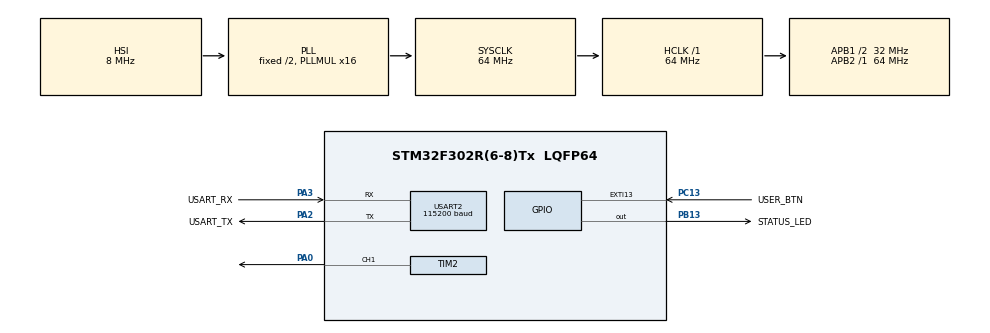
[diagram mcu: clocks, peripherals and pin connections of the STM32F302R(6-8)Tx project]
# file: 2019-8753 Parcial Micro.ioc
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Mcu.Family=STM32F3
Mcu.Name=STM32F302R(6-8)Tx
Mcu.Package=LQFP64
NVIC.EXTI15_10_IRQn=true\:0\:0\:false\:false\:true\:true\:true
NVIC.PriorityGroup=NVIC_PRIORITYGROUP_0
NVIC.TIM6_DAC_IRQn=true\:0\:0\:false\:false\:true\:true\:true
NVIC.USART2_IRQn=true\:0\:0\:false\:false\:true\:true\:true
PA0.Signal=S_TIM2_CH1_ETR
PA13.GPIO_Label=TMS
PA13.Mode=Serial_Wire
PA13.Signal=SYS_JTMS-SWDIO
PA14.GPIO_Label=TCK
PA14.Mode=Serial_Wire
PA14.Signal=SYS_JTCK-SWCLK
PA2.GPIO_Label=USART_TX
PA2.GPIO_Mode=GPIO_MODE_AF_PP
PA2.GPIO_PuPd=GPIO_NOPULL
PA2.GPIO_Speed=GPIO_SPEED_FREQ_LOW
PA2.Mode=Asynchronous
PA2.Signal=USART2_TX
PA3.GPIO_Label=USART_RX
PA3.GPIO_Mode=GPIO_MODE_AF_PP
PA3.GPIO_PuPd=GPIO_NOPULL
PA3.GPIO_Speed=GPIO_SPEED_FREQ_LOW
PA3.Mode=Asynchronous
PA3.Signal=USART2_RX
PB13.GPIO_Label=STATUS_LED
PB13.Signal=GPIO_Output
PB3.GPIO_Label=SWO
PB3.Mode=Trace_Asynchronous_SW
PB3.Signal=SYS_JTDO-TRACESWO
PC13.GPIO_Label=USER_BTN
PC13.GPIO_ModeDefaultEXTI=GPIO_MODE_IT_RISING_FALLING
PC13.Signal=GPXTI13
PC14\ -\ OSC32_IN.Mode=LSE-External-Oscillator
PC14\ -\ OSC32_IN.Signal=RCC_OSC32_IN
PC15\ -\ OSC32_OUT.Mode=LSE-External-Oscillator
PC15\ -\ OSC32_OUT.Signal=RCC_OSC32_OUT
PF0-OSC_IN.Mode=HSE-External-Clock-Source
PF0-OSC_IN.Signal=RCC_OSC_IN
PF1-OSC_OUT.Signal=RCC_OSC_OUT
ProjectManager.HeapSize=0x200
ProjectManager.StackSize=0x400
ProjectManager.TargetToolchain=STM32CubeIDE
RCC.AHBFreq_Value=64000000
RCC.APB1CLKDivider=RCC_HCLK_DIV2
RCC.APB1Freq_Value=32000000
RCC.APB1TimFreq_Value=64000000
RCC.APB2Freq_Value=64000000
RCC.APB2TimFreq_Value=64000000
RCC.CortexFreq_Value=64000000
RCC.HCLKFreq_Value=64000000
RCC.HSE_VALUE=8000000
RCC.HSI_VALUE=8000000
RCC.PLLM=8
RCC.PLLMUL=RCC_PLL_MUL16
RCC.PLLN=336
RCC.PLLP=RCC_PLLP_DIV4
RCC.PLLQ=7
RCC.RCC_PLLsource_Clock_Source_FROM_HSE=RCC_HSE_PREDIV_DIV2
RCC.SYSCLKFreq_VALUE=64000000
RCC.SYSCLKSourceVirtual=RCC_SYSCLKSOURCE_PLLCLK
RCC.USBFreq_Value=64000000
SH.S_TIM2_CH1_ETR.0=TIM2_CH1,PWM Generation1 CH1
TIM2.AutoReloadPreload=TIM_AUTORELOAD_PRELOAD_ENABLE
TIM2.Channel-PWM\ Generation1\ CH1=TIM_CHANNEL_1
TIM2.ClockDivision=TIM_CLOCKDIVISION_DIV2
TIM2.Period=999
TIM2.Prescaler=63
TIM2.Pulse-PWM\ Generation1\ CH1=250
TIM6.Period=999
TIM6.Prescaler=63
USART2.BaudRate=115200
USART2.VirtualMode-Asynchronous=VM_ASYNC
VP_TIM6_VS_ClockSourceINT.Mode=Enable_Timer
board=NUCLEO-F302R8

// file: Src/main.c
/* USER CODE BEGIN Header */
/**
  ******************************************************************************
  * @file           : main.c
  * @brief          : Main program body
  ******************************************************************************
  * @attention
  *
  * <h2><center>&copy; Copyright (c) 2026 STMicroelectronics.
  * All rights reserved.</center></h2>
  *
  * This software component is licensed by ST under BSD 3-Clause license,
  * the "License"; You may not use this file except in compliance with the
  * License. You may obtain a copy of the License at:
  *                        opensource.org/licenses/BSD-3-Clause
  *
  ******************************************************************************
  */
/* USER CODE END Header */

#include "main.h"

/* USER CODE BEGIN Includes */
#include <string.h>
#include <stdio.h>
/* USER CODE END Includes */

TIM_HandleTypeDef htim2;
TIM_HandleTypeDef htim6;

UART_HandleTypeDef huart2;

/* USER CODE BEGIN PV */

volatile uint32_t g_ms = 0;
volatile uint8_t buttonEdgePending = 0;

uint8_t buttonRawState = 0;
uint8_t buttonStableState = 0;

uint8_t debounceActive = 0;
uint32_t debounceStart = 0;

uint32_t pressStart = 0;
uint8_t buttonPressed = 0;
uint8_t longPressReported = 0;

uint32_t shortPressCount = 0;
uint32_t longPressCount = 0;

/* Recepcion UART por interrupciones */
#define UART_RX_BUFFER_SIZE 128U

static uint8_t uartRxByte;

static volatile uint8_t uartRxBuffer[UART_RX_BUFFER_SIZE];

static volatile uint16_t uartRxHead = 0U;
static volatile uint16_t uartRxTail = 0U;

static volatile uint32_t uartRxOverflowCount = 0U;

/* Procesamiento de comandos UART */
#define UART_LINE_MAX_LENGTH 63U

static char uartLine[UART_LINE_MAX_LENGTH + 1U];

static uint8_t uartLineLength = 0U;

static uint8_t uartLineDiscard = 0U;

static uint8_t uartLastWasCR = 0U;

static volatile uint32_t uartLineOverflowCount = 0U;

/* Transmision UART no bloqueante */
#define UART_TX_BUFFER_SIZE 256U

static uint8_t uartTxBuffer[UART_TX_BUFFER_SIZE];

static volatile uint16_t uartTxHead = 0U;
static volatile uint16_t uartTxTail = 0U;

static volatile uint8_t uartTxBusy = 0U;

static volatile uint32_t uartTxOverflowCount = 0U;

static uint8_t uartTxActiveByte;

static uint8_t pwmDuty = 25U;

typedef enum
{
    MODE_MANUAL = 0,
    MODE_AUTO,
    MODE_PAUSE
} SystemMode;

static SystemMode currentMode = MODE_MANUAL;
static SystemMode previousMode = MODE_MANUAL;

static uint8_t savedDuty = 25U;

/* Control de rampa automatica */
static uint8_t autoDuty = 10U;
static int8_t autoDirection = 1;
static uint32_t autoLastUpdate = 0U;

static uint8_t manualDuty = 25U;

/* Control de transmision periodica UART */
static uint8_t streamEnabled = 0U;
static uint32_t streamLastUpdate = 0U;

/* Control del LED indicador de estados */
static uint32_t statusLedLastUpdate = 0U;
static SystemMode statusLedLastMode = MODE_MANUAL;

/* USER CODE END PV */

void SystemClock_Config(void);
static void MX_GPIO_Init(void);
static void MX_USART2_UART_Init(void);
static void MX_TIM2_Init(void);
static void MX_TIM6_Init(void);
/* USER CODE BEGIN PFP */

uint8_t UART_SendText(const char *text);
void UART_ServiceTx(void);

/* USER CODE END PFP */

/* USER CODE BEGIN 0 */

uint8_t UART_ParseDuty(const char *text, uint8_t *duty)
{
    uint32_t value = 0U;

    if ((text == NULL) || (duty == NULL) || (*text == '\0'))
    {
        return 0U;
    }

    while (*text != '\0')
    {
        if ((*text < '0') || (*text > '9'))
        {
            return 0U;
        }

        value = (value * 10U) + (uint32_t)(*text - '0');

        if (value > 100U)
        {
            return 0U;
        }

        text++;
    }

    *duty = (uint8_t)value;

    return 1U;
}

void PWM_SetDuty(uint8_t duty)
{
    if (duty > 100U)
    {
        duty = 100U;
    }

    /* Guardar el ultimo duty configurado */
    pwmDuty = duty;

    /* Obtener el periodo actual de TIM2 */
    uint32_t period = __HAL_TIM_GET_AUTORELOAD(&htim2);

    /* Calcular el valor del registro CCR1 */
    uint32_t pulse = ((period + 1U) * duty) / 100U;

    /* Actualizar el PWM */
    __HAL_TIM_SET_COMPARE(&htim2, TIM_CHANNEL_1, pulse);
}

uint8_t PWM_SetFrequency(uint32_t frequency)
{
    uint32_t timerClock = 64000000U;

    /* Validar las frecuencias permitidas */
    if ((frequency != 500U) &&
        (frequency != 1000U) &&
        (frequency != 2000U))
    {
        return 0U;
    }

    /* Leer el prescaler actual */
    uint32_t prescaler = htim2.Instance->PSC;

    /* Calcular el nuevo periodo */
    uint32_t newPeriod =
        (timerClock / ((prescaler + 1U) * frequency)) - 1U;

    /* Actualizar el periodo del PWM */
    __HAL_TIM_SET_AUTORELOAD(&htim2, newPeriod);

    /* Conservar el duty cycle configurado */
    PWM_SetDuty(pwmDuty);

    return 1U;
}

uint8_t UART_ReadByte(uint8_t *data)
{
    if (data == NULL)
    {
        return 0U;
    }

    /* Comprobar si hay caracteres disponibles */
    if (uartRxHead == uartRxTail)
    {
        return 0U;
    }

    /* Recuperar el siguiente caracter */
    *data = uartRxBuffer[uartRxTail];

    /* Avanzar la posicion de lectura */
    uartRxTail =
        (uartRxTail + 1U) % UART_RX_BUFFER_SIZE;

    return 1U;
}

uint8_t UART_ParseFrequency(const char *text, uint32_t *frequency)
{
    uint32_t value = 0U;

    if ((text == NULL) || (frequency == NULL) || (*text == '\0'))
    {
        return 0U;
    }

    while (*text != '\0')
    {
        if ((*text < '0') || (*text > '9'))
        {
            return 0U;
        }

        value = (value * 10U) + (uint32_t)(*text - '0');

        /* Evitar valores excesivos */
        if (value > 2000U)
        {
            return 0U;
        }

        text++;
    }

    if ((value != 500U) &&
        (value != 1000U) &&
        (value != 2000U))
    {
        return 0U;
    }

    *frequency = value;

    return 1U;
}

void UART_ProcessCommand(const char *command)
{
    if (strcmp(command, "HELP") == 0)
    {
        UART_SendText(
            "OK\r\n"
            "HELP\r\n"
            "STATUS\r\n"
            "MODE MANUAL\r\n"
            "MODE AUTO\r\n"
            "DUTY n\r\n"
            "FREQ n\r\n"
            "PAUSE\r\n"
            "RESUME\r\n"
            "STREAM ON\r\n"
            "STREAM OFF\r\n"
        );
    }
    else if (strcmp(command, "STATUS") == 0)
    {
        char response[96];

        uint32_t timerClock = 64000000U;

        uint32_t prescaler =
            htim2.Instance->PSC;

        uint32_t period =
            __HAL_TIM_GET_AUTORELOAD(&htim2);

        uint32_t frequency =
            timerClock / ((prescaler + 1U) * (period + 1U));

        const char *modeText = "MANUAL";

        if (currentMode == MODE_AUTO)
        {
            modeText = "AUTO";
        }
        else if (currentMode == MODE_PAUSE)
        {
            modeText = "PAUSA";
        }

        snprintf(response, sizeof(response),
                 "OK\r\n"
                 "MODE: %s\r\n"
                 "PWM FREQ: %lu Hz\r\n"
                 "PWM DUTY: %u%%\r\n",
                 modeText,
                 (unsigned long)frequency,
                 (unsigned int)pwmDuty);

        UART_SendText(response);
    }

    else if (strncmp(command, "DUTY ", 5) == 0)
    {
        uint8_t newDuty;

        if (currentMode == MODE_PAUSE)
        {
            UART_SendText("ERR PAUSED\r\n");
        }
        else if (currentMode == MODE_AUTO)
        {
            UART_SendText("ERR AUTO MODE\r\n");
        }
        else if (UART_ParseDuty(command + 5, &newDuty))
        {
            PWM_SetDuty(newDuty);
            manualDuty = newDuty;

            UART_SendText("OK DUTY\r\n");
        }
        else
        {
            UART_SendText("ERR DUTY\r\n");
        }
    }
    else if (strncmp(command, "FREQ ", 5) == 0)
    {
        uint32_t newFrequency;

        if (UART_ParseFrequency(command + 5, &newFrequency))
        {
            if (PWM_SetFrequency(newFrequency))
            {
                UART_SendText("OK FREQ\r\n");
            }
            else
            {
                UART_SendText("ERR FREQ\r\n");
            }
        }
        else
        {
            UART_SendText("ERR FREQ\r\n");
        }
    }

    else if (strcmp(command, "MODE MANUAL") == 0)
    {
        if (currentMode == MODE_PAUSE)
        {
            UART_SendText("ERR PAUSED\r\n");
        }
        else
        {
            if (currentMode == MODE_AUTO)
            {
                currentMode = MODE_MANUAL;
                PWM_SetDuty(manualDuty);
            }

            UART_SendText("OK MODE MANUAL\r\n");
        }
    }
    else if (strcmp(command, "MODE AUTO") == 0)
    {
        if (currentMode == MODE_PAUSE)
        {
            UART_SendText("ERR PAUSED\r\n");
        }
        else
        {
            if (currentMode == MODE_MANUAL)
            {
                manualDuty = pwmDuty;

                autoDuty = 10U;
                autoDirection = 1;
                autoLastUpdate = g_ms;

                currentMode = MODE_AUTO;
                PWM_SetDuty(autoDuty);
            }

            UART_SendText("OK MODE AUTO\r\n");
        }
    }

    else if (strcmp(command, "PAUSE") == 0)
    {
        if (currentMode == MODE_PAUSE)
        {
            UART_SendText("ERR ALREADY PAUSED\r\n");
        }
        else
        {
            /* Guardar el estado y duty actuales */
            previousMode = currentMode;
            savedDuty = pwmDuty;

            /* Entrar en PAUSA */
            currentMode = MODE_PAUSE;
            PWM_SetDuty(0U);

            UART_SendText("OK PAUSE\r\n");
        }
    }
    else if (strcmp(command, "RESUME") == 0)
    {
        if (currentMode != MODE_PAUSE)
        {
            UART_SendText("ERR NOT PAUSED\r\n");
        }
        else
        {
            /* Recuperar estado y duty anteriores */
            currentMode = previousMode;
            PWM_SetDuty(savedDuty);

            /* Evitar acumular tiempo durante PAUSA */
            autoLastUpdate = g_ms;

            UART_SendText("OK RESUME\r\n");
        }
    }
    else if (strcmp(command, "STREAM ON") == 0)
    {
        streamEnabled = 1U;
        streamLastUpdate = g_ms;

        UART_SendText("OK STREAM ON\r\n");
    }
    else if (strcmp(command, "STREAM OFF") == 0)
    {
        streamEnabled = 0U;

        UART_SendText("OK STREAM OFF\r\n");
    }
    else
    {
        UART_SendText("ERR COMMAND\r\n");
    }
}

void UART_ProcessRx(void)
{
    uint8_t receivedByte;
    uint16_t processed = 0U;

    /* Limitar trabajo por iteracion del programa principal */
    while ((processed < 32U) && UART_ReadByte(&receivedByte))
    {
        processed++;

        /* Evitar procesar CRLF dos veces */
        if ((receivedByte == '\n') && uartLastWasCR)
        {
            uartLastWasCR = 0U;
            continue;
        }

        uartLastWasCR = (receivedByte == '\r') ? 1U : 0U;

        /* Detectar final de linea */
        if ((receivedByte == '\r') || (receivedByte == '\n'))
        {
            if (uartLineDiscard)
            {
                uartLineOverflowCount++;
            }
            else if (uartLineLength > 0U)
            {
                uartLine[uartLineLength] = '\0';

                UART_ProcessCommand(uartLine);
            }

            /* Preparar la siguiente linea */
            uartLineLength = 0U;
            uartLineDiscard = 0U;
        }
        else if (!uartLineDiscard)
        {
            if (uartLineLength < UART_LINE_MAX_LENGTH)
            {
                uartLine[uartLineLength++] = (char)receivedByte;
            }
            else
            {
                /* Descartar hasta el siguiente fin de linea */
                uartLineDiscard = 1U;
            }
        }
    }
}

uint8_t UART_SendText(const char *text)

               {
                   uint16_t length = 0U;
                   uint16_t freeSpace;

                   if (text == NULL)
                   {
                       return 0U;
                   }

                   /* Calcular longitud del mensaje */
                   while (text[length] != '\0')
                   {
                       length++;

                       if (length >= UART_TX_BUFFER_SIZE)
                       {
                           uartTxOverflowCount++;
                           return 0U;
                       }
                   }

                   /* Calcular espacio disponible */
                   uint32_t primask = __get_PRIMASK();

                   __disable_irq();

                   uint16_t used =
                       (uartTxHead + UART_TX_BUFFER_SIZE - uartTxTail)
                       % UART_TX_BUFFER_SIZE;

                   freeSpace = (UART_TX_BUFFER_SIZE - 1U) - used;

                   __set_PRIMASK(primask);

                   if (length > freeSpace)
                   {
                       uartTxOverflowCount++;
                       return 0U;
                   }

                   /* Agregar mensaje al buffer */
                   for (uint16_t i = 0U; i < length; i++)
                   {
                       uartTxBuffer[uartTxHead] = (uint8_t)text[i];

                       uartTxHead =
                           (uartTxHead + 1U) % UART_TX_BUFFER_SIZE;
                   }

                   return 1U;
               }

              void UART_ServiceTx(void)
               {
                   if (uartTxBusy != 0U)
                   {
                       return;
                   }

                   if (uartTxHead == uartTxTail)
                   {
                       return;
                   }

                   uartTxActiveByte = uartTxBuffer[uartTxTail];
                   uartTxBusy = 1U;

                   if (HAL_UART_Transmit_IT(&huart2,
                                            &uartTxActiveByte,
                                            1U) != HAL_OK)
                   {
                       uartTxBusy = 0U;
                   }
               }
/* USER CODE END 0 */

int main(void)
{

  /* MCU Configuration--------------------------------------------------------*/

  /* Reset of all peripherals, Initializes the Flash interface and the Systick. */
  HAL_Init();

  /* Configure the system clock */
  SystemClock_Config();

  /* Initialize all configured peripherals */
  MX_GPIO_Init();
  MX_USART2_UART_Init();
  MX_TIM2_Init();
  MX_TIM6_Init();
  /* USER CODE BEGIN 2 */

  HAL_TIM_Base_Start_IT(&htim6);
  HAL_TIM_PWM_Start(&htim2, TIM_CHANNEL_1);
  PWM_SetDuty(25);

  if (HAL_UART_Receive_IT(&huart2, &uartRxByte, 1U) != HAL_OK)
  {
      Error_Handler();
  }

  buttonRawState =
      HAL_GPIO_ReadPin(USER_BTN_GPIO_Port, USER_BTN_Pin);

  buttonStableState = buttonRawState;

  /* USER CODE END 2 */

  /* Infinite loop */
  while (1)
  {

    /* USER CODE BEGIN 3 */

	  UART_ProcessRx();
	  UART_ServiceTx();

	  uint32_t now = g_ms;

	  /* Se detectó un flanco mediante EXTI */
	  if (buttonEdgePending)
	  {
	      buttonEdgePending = 0;

	      buttonRawState =
	          HAL_GPIO_ReadPin(USER_BTN_GPIO_Port, USER_BTN_Pin);

	      debounceStart = now;
	      debounceActive = 1;
	  }

	  /* Validación no bloqueante de 30 ms */
	  if (debounceActive)
	  {
	      uint8_t currentState =
	          HAL_GPIO_ReadPin(USER_BTN_GPIO_Port, USER_BTN_Pin);

	      /* Si vuelve a cambiar, reiniciamos los 30 ms */
	      if (currentState != buttonRawState)
	      {
	          buttonRawState = currentState;
	          debounceStart = now;
	      }

	      /* Debe permanecer estable durante 30 ms */
	      if ((uint32_t)(now - debounceStart) >= 30U)
	      {
	          debounceActive = 0;

	          if (buttonStableState != buttonRawState)
	          {
	              buttonStableState = buttonRawState;

	              /* B1 es activo en bajo */
	              if (buttonStableState == GPIO_PIN_RESET)
	              {
	                  /* Pulsación validada */
	                  buttonPressed = 1;
	                  pressStart = now;
	                  longPressReported = 0;
	              }
	              else
	              {
	                  /* Liberación validada */
	                  if (buttonPressed)
	                  {
	                      if (!longPressReported)
	                      {
	                          uint32_t pressDuration =
	                              (uint32_t)(now - pressStart);

	                          if (pressDuration >= 30U &&
	                              pressDuration < 1500U)
	                          {
	                              shortPressCount++;

	                              /* Alternar entre MANUAL y AUTO */
	                              if (currentMode == MODE_MANUAL)
	                              {
	                                  /* Guardar la configuracion manual */
	                                  manualDuty = pwmDuty;

	                                  /* Iniciar la rampa desde 10% */
	                                  autoDuty = 10U;
	                                  autoDirection = 1;
	                                  autoLastUpdate = now;

	                                  currentMode = MODE_AUTO;
	                                  PWM_SetDuty(autoDuty);
	                              }
	                              else if (currentMode == MODE_AUTO)
	                              {
	                                  /* Recuperar el duty manual */
	                                  currentMode = MODE_MANUAL;
	                                  PWM_SetDuty(manualDuty);
	                              }
	                          }
	                      }

	                      buttonPressed = 0;
	                  }
	              }
	          }
	      }
	  }
	  /* Detección de pulsación larga */
	  if (buttonPressed && !longPressReported)
	  {
	      if ((uint32_t)(now - pressStart) >= 1500U)
	      {
	          longPressReported = 1;
	          longPressCount++;

	          /* Entrar o salir del modo PAUSA */
	          if (currentMode != MODE_PAUSE)
	          {
	              /* Guardar el modo y duty anteriores */
	              previousMode = currentMode;
	              savedDuty = pwmDuty;

	              /* Activar PAUSA y apagar PWM */
	              currentMode = MODE_PAUSE;
	              PWM_SetDuty(0U);
	          }
	          else
	          {
	              /* Recuperar el modo y duty anteriores */
	              currentMode = previousMode;
	              PWM_SetDuty(savedDuty);
	          }
	      }
	  }

	  /* Rampa automatica PWM */
	  if (currentMode == MODE_AUTO)
	  {
	      if ((uint32_t)(now - autoLastUpdate) >= 20U)
	      {
	          autoLastUpdate = now;

	          if (autoDirection > 0)
	          {
	              if (autoDuty < 90U)
	              {
	                  autoDuty++;
	              }
	              else
	              {
	                  autoDirection = -1;
	                  autoDuty--;
	              }
	          }
	          else
	          {
	              if (autoDuty > 10U)
	              {
	                  autoDuty--;
	              }
	              else
	              {
	                  autoDirection = 1;
	                  autoDuty++;
	              }
	          }

	          PWM_SetDuty(autoDuty);
	      }
	  }
	  else
	  {
	      /* Evita acumular tiempo fuera de AUTO */
	      autoLastUpdate = now;
	  }

	  /* Transmision periodica de estado por UART */
	  if (streamEnabled)
	  {
	      if ((uint32_t)(now - streamLastUpdate) >= 1000U)
	      {
	          streamLastUpdate = now;

	          const char *modeText = "MANUAL";

	          if (currentMode == MODE_AUTO)
	          {
	              modeText = "AUTO";
	          }
	          else if (currentMode == MODE_PAUSE)
	          {
	              modeText = "PAUSA";
	          }

	          uint32_t timerClock = 64000000U;
	          uint32_t prescaler = htim2.Instance->PSC;
	          uint32_t period = __HAL_TIM_GET_AUTORELOAD(&htim2);

	          uint32_t frequency =
	              timerClock / ((prescaler + 1U) * (period + 1U));

	          char streamMessage[96];

	          snprintf(streamMessage, sizeof(streamMessage),
	                   "STREAM MODE:%s FREQ:%lu DUTY:%u%%\r\n",
	                   modeText,
	                   (unsigned long)frequency,
	                   (unsigned int)pwmDuty);

	          UART_SendText(streamMessage);
	      }
	  }
	  /* Indicador LED de estados */
	  if (currentMode != statusLedLastMode)
	  {
	      /* Reiniciar temporizacion al cambiar de modo */
	      statusLedLastMode = currentMode;
	      statusLedLastUpdate = now;

	      /* Establecer estado inicial del LED */
	      HAL_GPIO_WritePin(STATUS_LED_GPIO_Port,
	                        STATUS_LED_Pin,
	                        GPIO_PIN_SET);
	  }

	  if (currentMode == MODE_MANUAL)
	  {
	      /* MANUAL: LED encendido permanentemente */
	      HAL_GPIO_WritePin(STATUS_LED_GPIO_Port,
	                        STATUS_LED_Pin,
	                        GPIO_PIN_SET);
	  }
	  else if (currentMode == MODE_AUTO)
	  {
	      /* AUTO: cambiar estado cada 500 ms */
	      if ((uint32_t)(now - statusLedLastUpdate) >= 500U)
	      {
	          statusLedLastUpdate = now;

	          HAL_GPIO_TogglePin(STATUS_LED_GPIO_Port,
	                             STATUS_LED_Pin);
	      }
	  }
	  else if (currentMode == MODE_PAUSE)
	  {
	      /* PAUSA: cambiar estado cada 125 ms */
	      if ((uint32_t)(now - statusLedLastUpdate) >= 125U)
	      {
	          statusLedLastUpdate = now;

	          HAL_GPIO_TogglePin(STATUS_LED_GPIO_Port,
	                             STATUS_LED_Pin);
	      }
	  }
  }

  /* USER CODE END 3 */
}

void SystemClock_Config(void)
{
  RCC_OscInitTypeDef RCC_OscInitStruct = {0};
  RCC_ClkInitTypeDef RCC_ClkInitStruct = {0};

  /** Initializes the CPU, AHB and APB busses clocks
  */
  RCC_OscInitStruct.OscillatorType = RCC_OSCILLATORTYPE_HSI;
  RCC_OscInitStruct.HSIState = RCC_HSI_ON;
  RCC_OscInitStruct.HSICalibrationValue = RCC_HSICALIBRATION_DEFAULT;
  RCC_OscInitStruct.PLL.PLLState = RCC_PLL_ON;
  RCC_OscInitStruct.PLL.PLLSource = RCC_PLLSOURCE_HSI;
  RCC_OscInitStruct.PLL.PLLMUL = RCC_PLL_MUL16;
  if (HAL_RCC_OscConfig(&RCC_OscInitStruct) != HAL_OK)
  {
    Error_Handler();
  }
  /** Initializes the CPU, AHB and APB busses clocks
  */
  RCC_ClkInitStruct.ClockType = RCC_CLOCKTYPE_HCLK|RCC_CLOCKTYPE_SYSCLK
                              |RCC_CLOCKTYPE_PCLK1|RCC_CLOCKTYPE_PCLK2;
  RCC_ClkInitStruct.SYSCLKSource = RCC_SYSCLKSOURCE_PLLCLK;
  RCC_ClkInitStruct.AHBCLKDivider = RCC_SYSCLK_DIV1;
  RCC_ClkInitStruct.APB1CLKDivider = RCC_HCLK_DIV2;
  RCC_ClkInitStruct.APB2CLKDivider = RCC_HCLK_DIV1;

  if (HAL_RCC_ClockConfig(&RCC_ClkInitStruct, FLASH_LATENCY_2) != HAL_OK)
  {
    Error_Handler();
  }
}

static void MX_TIM2_Init(void)
{

  TIM_MasterConfigTypeDef sMasterConfig = {0};
  TIM_OC_InitTypeDef sConfigOC = {0};

  htim2.Instance = TIM2;
  htim2.Init.Prescaler = 63;
  htim2.Init.CounterMode = TIM_COUNTERMODE_UP;
  htim2.Init.Period = 999;
  htim2.Init.ClockDivision = TIM_CLOCKDIVISION_DIV2;
  htim2.Init.AutoReloadPreload = TIM_AUTORELOAD_PRELOAD_ENABLE;
  if (HAL_TIM_PWM_Init(&htim2) != HAL_OK)
  {
    Error_Handler();
  }
  sMasterConfig.MasterOutputTrigger = TIM_TRGO_RESET;
  sMasterConfig.MasterSlaveMode = TIM_MASTERSLAVEMODE_DISABLE;
  if (HAL_TIMEx_MasterConfigSynchronization(&htim2, &sMasterConfig) != HAL_OK)
  {
    Error_Handler();
  }
  sConfigOC.OCMode = TIM_OCMODE_PWM1;
  sConfigOC.Pulse = 250;
  sConfigOC.OCPolarity = TIM_OCPOLARITY_HIGH;
  sConfigOC.OCFastMode = TIM_OCFAST_DISABLE;
  if (HAL_TIM_PWM_ConfigChannel(&htim2, &sConfigOC, TIM_CHANNEL_1) != HAL_OK)
  {
    Error_Handler();
  }
  HAL_TIM_MspPostInit(&htim2);

}

static void MX_TIM6_Init(void)
{

  TIM_MasterConfigTypeDef sMasterConfig = {0};

  htim6.Instance = TIM6;
  htim6.Init.Prescaler = 63;
  htim6.Init.CounterMode = TIM_COUNTERMODE_UP;
  htim6.Init.Period = 999;
  htim6.Init.AutoReloadPreload = TIM_AUTORELOAD_PRELOAD_DISABLE;
  if (HAL_TIM_Base_Init(&htim6) != HAL_OK)
  {
    Error_Handler();
  }
  sMasterConfig.MasterOutputTrigger = TIM_TRGO_RESET;
  sMasterConfig.MasterSlaveMode = TIM_MASTERSLAVEMODE_DISABLE;
  if (HAL_TIMEx_MasterConfigSynchronization(&htim6, &sMasterConfig) != HAL_OK)
  {
    Error_Handler();
  }

}

static void MX_USART2_UART_Init(void)
{

  huart2.Instance = USART2;
  huart2.Init.BaudRate = 115200;
  huart2.Init.WordLength = UART_WORDLENGTH_8B;
  huart2.Init.StopBits = UART_STOPBITS_1;
  huart2.Init.Parity = UART_PARITY_NONE;
  huart2.Init.Mode = UART_MODE_TX_RX;
  huart2.Init.HwFlowCtl = UART_HWCONTROL_NONE;
  huart2.Init.OverSampling = UART_OVERSAMPLING_16;
  huart2.Init.OneBitSampling = UART_ONE_BIT_SAMPLE_DISABLE;
  huart2.AdvancedInit.AdvFeatureInit = UART_ADVFEATURE_NO_INIT;
  if (HAL_UART_Init(&huart2) != HAL_OK)
  {
    Error_Handler();
  }

}

static void MX_GPIO_Init(void)
{
  GPIO_InitTypeDef GPIO_InitStruct = {0};

  /* GPIO Ports Clock Enable */
  __HAL_RCC_GPIOC_CLK_ENABLE();
  __HAL_RCC_GPIOF_CLK_ENABLE();
  __HAL_RCC_GPIOA_CLK_ENABLE();
  __HAL_RCC_GPIOB_CLK_ENABLE();

  /*Configure GPIO pin Output Level */
  HAL_GPIO_WritePin(STATUS_LED_GPIO_Port, STATUS_LED_Pin, GPIO_PIN_RESET);

  /*Configure GPIO pin : USER_BTN_Pin */
  GPIO_InitStruct.Pin = USER_BTN_Pin;
  GPIO_InitStruct.Mode = GPIO_MODE_IT_RISING_FALLING;
  GPIO_InitStruct.Pull = GPIO_NOPULL;
  HAL_GPIO_Init(USER_BTN_GPIO_Port, &GPIO_InitStruct);

  /*Configure GPIO pin : STATUS_LED_Pin */
  GPIO_InitStruct.Pin = STATUS_LED_Pin;
  GPIO_InitStruct.Mode = GPIO_MODE_OUTPUT_PP;
  GPIO_InitStruct.Pull = GPIO_NOPULL;
  GPIO_InitStruct.Speed = GPIO_SPEED_FREQ_LOW;
  HAL_GPIO_Init(STATUS_LED_GPIO_Port, &GPIO_InitStruct);

  /* EXTI interrupt init*/
  HAL_NVIC_SetPriority(EXTI15_10_IRQn, 0, 0);
  HAL_NVIC_EnableIRQ(EXTI15_10_IRQn);

}

/* USER CODE BEGIN 4 */

void HAL_TIM_PeriodElapsedCallback(TIM_HandleTypeDef *htim)
{
    if (htim->Instance == TIM6)
    {
        g_ms++;
    }
}

void HAL_GPIO_EXTI_Callback(uint16_t GPIO_Pin)
{
    if (GPIO_Pin == USER_BTN_Pin)
    {
        buttonEdgePending = 1;
    }
}

void HAL_UART_RxCpltCallback(UART_HandleTypeDef *huart)
{
    if (huart->Instance == USART2)
    {
        uint16_t nextHead =
            (uartRxHead + 1U) % UART_RX_BUFFER_SIZE;

        if (nextHead != uartRxTail)
        {
            uartRxBuffer[uartRxHead] = uartRxByte;
            uartRxHead = nextHead;
        }
        else
        {
            uartRxOverflowCount++;
        }

        HAL_UART_Receive_IT(&huart2, &uartRxByte, 1U);
    }
}

void HAL_UART_TxCpltCallback(UART_HandleTypeDef *huart)
{
    if (huart->Instance == USART2)
    {
        uartTxTail =
            (uartTxTail + 1U) % UART_TX_BUFFER_SIZE;

        uartTxBusy = 0U;
    }
}

/* USER CODE END 4 */

void Error_Handler(void)
{
}

/************************ (C) COPYRIGHT STMicroelectronics *****END OF FILE****/
